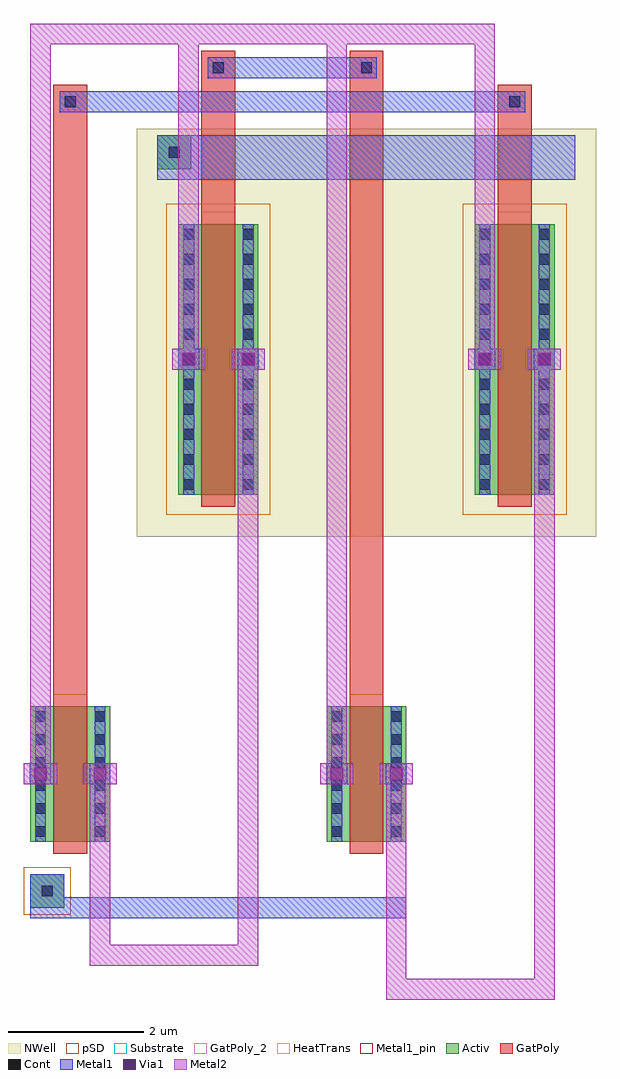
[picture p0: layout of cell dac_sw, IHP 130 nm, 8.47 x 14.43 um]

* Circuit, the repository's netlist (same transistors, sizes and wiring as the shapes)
.subckt dac_sw dac_out dac_hi dac_lo lat_q lat_qb gnd vdd
MMdac_tg1n dac_hi lat_q dac_out gnd sg13_lv_nmos w=2u l=0.5u ng=1 m=1
MMdac_tg1p dac_hi lat_qb dac_out vdd sg13_lv_pmos w=4u l=0.5u ng=1 m=1
MMdac_tg2n dac_lo lat_qb dac_out gnd sg13_lv_nmos w=2u l=0.5u ng=1 m=1
MMdac_tg2p dac_lo lat_q dac_out vdd sg13_lv_pmos w=4u l=0.5u ng=1 m=1
.ends dac_sw

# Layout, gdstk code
import gdstk
lib = gdstk.Library(unit=1e-6, precision=1e-09)
def R(c, l, rs):  # rectangles x0, y0, x1, y1
    for r in rs: c.add(gdstk.rectangle(r[:2], r[2:], *l))
def A(c, l, x, y, w, h, nx, ny, dx, dy):  # array of equal rectangles
    R(c, l, [(x+i*dx, y+j*dy, x+i*dx+w, y+j*dy+h) for i in range(nx) for j in range(ny)])
Activ = (1, 0)
GatPoly = (5, 0)
GatPoly_2 = (5, 2)
Cont = (6, 0)
Metal1 = (8, 0)
Metal1_pin = (8, 2)
Metal2 = (10, 0)
pSD = (14, 0)
Via1 = (19, 0)
NWell = (31, 0)
Substrate = (40, 0)
HeatTrans = (51, 0)

nmos = lib.new_cell('nmos')
R(nmos, Activ, [(0,0,0.3,0.3), (0,0,1.18,2), (0.88,0,1.18,0.3)])
R(nmos, GatPoly, [(0.34,-0.18,0.84,2.18)])
R(nmos, GatPoly_2, [(0.34,-0.18,0.84,2.18)])
A(nmos, Cont, 0.07, 0.07, 0.16, 0.16, 1, 6, 0, 0.34)
A(nmos, Cont, 0.95, 0.07, 0.16, 0.16, 1, 6, 0, 0.34)
R(nmos, Metal1, [(0.07,0,0.23,2), (0.95,0,1.11,2)])
R(nmos, Metal1_pin, [(0.07,0,0.23,2), (0.95,0,1.11,2)])
R(nmos, HeatTrans, [(0.34,-0.18,0.84,2.18)])
nmos.add(gdstk.Label('nmos', (0.59,1), layer=63, texttype=0))
nmos.add(gdstk.Label('nmos', (0.59,1), layer=51, texttype=0))

pmos = lib.new_cell('pmos')
R(pmos, Activ, [(0,0,0.3,0.3), (0,0,1.18,4), (0.88,0,1.18,0.3)])
R(pmos, GatPoly, [(0.34,-0.18,0.84,4.18), (0.34,-0.18,0.84,4.18)])
A(pmos, Cont, 0.07, 0.07, 0.16, 0.16, 1, 11, 0, 0.37)
A(pmos, Cont, 0.95, 0.07, 0.16, 0.16, 1, 11, 0, 0.37)
R(pmos, Metal1, [(0.07,0,0.23,4), (0.07,0,0.23,4), (0.95,0,1.11,4), (0.95,0,1.11,4)])
R(pmos, pSD, [(-0.18,-0.3,1.36,4.3)])
R(pmos, NWell, [(-0.31,-0.31,1.49,4.31)])
R(pmos, Substrate, [(0.88,0,1.18,0.3)])
R(pmos, HeatTrans, [(0.34,-0.18,0.84,4.18)])
pmos.add(gdstk.Label('pmos', (0.59,2), layer=63, texttype=0))
pmos.add(gdstk.Label('pmos', (0.59,2), layer=51, texttype=0))

dac_sw = lib.new_cell('dac_sw')
R(dac_sw, Activ, [(0,-0.8,0.5,-0.3), (1.88,10.12,2.38,10.62)])
R(dac_sw, GatPoly, [(0.34,2.36,0.84,11.37), (4.72,2.36,5.22,11.87), (2.53,9.49,3.03,11.87), (6.91,9.49,7.41,11.37)])
R(dac_sw, Cont, [(0.17,-0.63,0.33,-0.47), (2.05,10.29,2.21,10.45), (0.51,11.04,0.67,11.2), (7.08,11.04,7.24,11.2), (2.7,11.54,2.86,11.7), (4.89,11.54,5.05,11.7)])
R(dac_sw, Metal1, [(0,-0.955,5.56,-0.645), (0,-0.8,0.5,-0.3), (-0.005,1.025,0.305,1.335), (0.875,1.025,1.185,1.335), (4.375,1.025,4.685,1.335), (5.255,1.025,5.565,1.335), (2.185,7.155,2.495,7.465), (3.065,7.155,3.375,7.465), (6.565,7.155,6.875,7.465), (7.445,7.155,7.755,7.465), (1.88,9.965,8.06,10.62), (1.88,10.12,2.38,10.62), (0.435,10.965,0.745,11.275), (0.435,10.965,7.315,11.275), (7.005,10.965,7.315,11.275), (2.625,11.465,2.935,11.775), (2.625,11.465,5.125,11.775), (4.815,11.465,5.125,11.775)])
R(dac_sw, Metal2, [(5.26,-2.155,7.75,-1.845), (5.26,-2.155,5.56,1.335), (7.45,-2.155,7.75,7.465), (0.88,-1.655,1.18,1.335), (0.88,-1.655,3.37,-1.345), (3.07,-1.655,3.37,7.465), (-0.095,1.025,0.395,1.335), (0,1.025,0.3,12.275), (0.785,1.025,1.275,1.335), (4.285,1.025,4.775,1.335), (4.38,1.025,4.68,12.275), (5.165,1.025,5.655,1.335), (2.095,7.155,2.585,7.465), (2.19,7.155,2.49,12.275), (2.975,7.155,3.465,7.465), (6.475,7.155,6.965,7.465), (6.57,7.155,6.87,12.275), (7.355,7.155,7.845,7.465), (0,11.965,6.87,12.275)])
R(dac_sw, pSD, [(-0.1,-0.9,0.6,-0.2)])
R(dac_sw, Via1, [(0.055,1.085,0.245,1.275), (0.935,1.085,1.125,1.275), (4.435,1.085,4.625,1.275), (5.315,1.085,5.505,1.275), (2.245,7.215,2.435,7.405), (3.125,7.215,3.315,7.405), (6.625,7.215,6.815,7.405), (7.505,7.215,7.695,7.405)])
R(dac_sw, NWell, [(1.57,4.69,8.37,10.72)])
dac_sw.add(gdstk.Reference(nmos, (0,0.18)))
dac_sw.add(gdstk.Reference(pmos, (2.19,5.31)))
dac_sw.add(gdstk.Reference(nmos, (4.38,0.18)))
dac_sw.add(gdstk.Reference(pmos, (6.57,5.31)))

lib.write_gds('dac_sw.gds')
